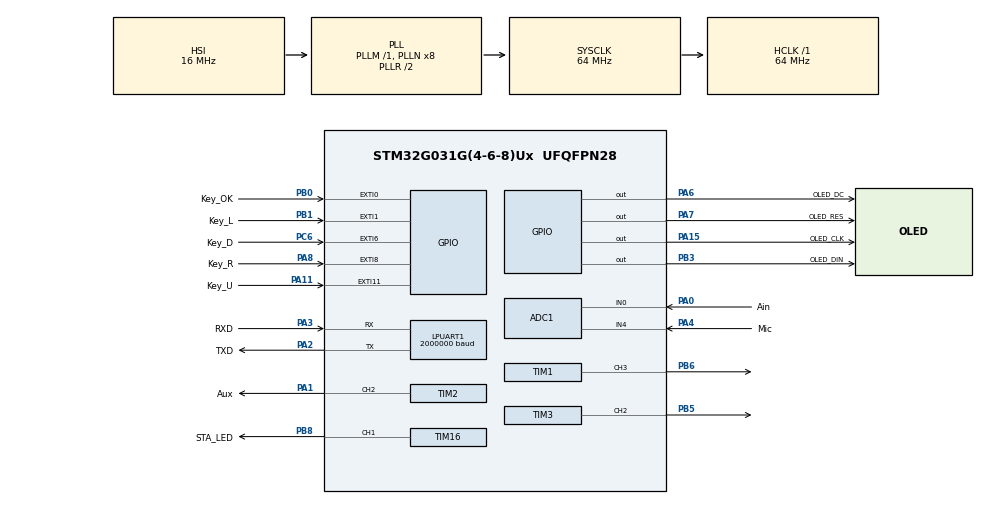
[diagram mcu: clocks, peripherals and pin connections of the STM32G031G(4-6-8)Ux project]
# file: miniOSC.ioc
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Mcu.Family=STM32G0
RCC.CortexFreq_Value=64000000
Dma.TIM1_UP.1.Priority=DMA_PRIORITY_LOW
VP_ADC1_TempSens_Input.Mode=IN-TempSens
Dma.ADC1.0.Polarity=HAL_DMAMUX_REQ_GEN_RISING
PA11\ [PA9].GPIO_Label=Key_U
PA0.GPIO_Label=Ain
PA14-BOOT0.Mode=Serial_Wire
PA2.GPIO_Speed=GPIO_SPEED_FREQ_VERY_HIGH
PC6.GPIO_Label=Key_D
LPUART1.WordLength=UART_WORDLENGTH_8B
PA6.GPIO_Label=OLED_DC
PB0.GPIO_Label=Key_OK
ADC1.SamplingTimeCommon2=ADC_SAMPLETIME_160CYCLES_5
TIM2.Channel-PWM\ Generation2\ CH2=TIM_CHANNEL_2
PA3.GPIO_Speed=GPIO_SPEED_FREQ_VERY_HIGH
PB3.GPIO_Speed=GPIO_SPEED_FREQ_VERY_HIGH
RCC.SYSCLKSource=RCC_SYSCLKSOURCE_PLLCLK
ProjectManager.StackSize=0x400
PA15.GPIO_Label=OLED_CLK
TIM1.Prescaler=TIM1_PRESCALER_VALUE
PA4.Mode=IN4
RCC.HCLKFreq_Value=64000000
TIM3.Period=TIM3_PERIOD_VALUE
PB6.Signal=S_TIM1_CH3
PB1.GPIO_ModeDefaultEXTI=GPIO_MODE_IT_FALLING
Dma.ADC1.0.Direction=DMA_PERIPH_TO_MEMORY
Dma.TIM1_UP.1.PeriphDataAlignment=DMA_PDATAALIGN_HALFWORD
Dma.ADC1.0.MemDataAlignment=DMA_MDATAALIGN_HALFWORD
RCC.AHBFreq_Value=64000000
PA14-BOOT0.Signal=SYS_SWCLK
RCC.HSE_VALUE=8000000
TIM3.OCFastMode_PWM-PWM\ Generation2\ CH2=TIM_OCFAST_ENABLE
PB0.GPIO_ModeDefaultEXTI=GPIO_MODE_IT_FALLING
VP_ADC1_Vref_Input.Mode=IN-Vrefint
TIM3.Prescaler=TIM3_PRESCALER_VALUE
PB1.GPIO_Label=Key_L
Dma.ADC1.0.PeriphInc=DMA_PINC_DISABLE
PA0.Mode=IN0
Dma.TIM1_UP.1.Direction=DMA_MEMORY_TO_PERIPH
PA8.Signal=GPXTI8
Dma.TIM1_UP.1.SyncEnable=DISABLE
Dma.TIM1_UP.1.Instance=DMA1_Channel2
VP_TIM1_VS_ClockSourceINT.Mode=Internal
TIM16.Pulse=TIM16_PULSE1_VALUE
PA0.Signal=ADC1_IN0
ADC1.SelectedChannel=ADC_CHANNEL_0|ADC_CHANNEL_4|ADC_CHANNEL_TEMPSENSOR|ADC_CHANNEL_VREFINT
Mcu.Package=UFQFPN28
TIM2.Prescaler=TIM2_PRESCALER_VALUE
PB1.Signal=GPXTI1
PA6.Signal=GPIO_Output
PA8.GPIO_ModeDefaultEXTI=GPIO_MODE_IT_FALLING
Dma.TIM1_UP.1.MemDataAlignment=DMA_MDATAALIGN_HALFWORD
TIM1.OCFastMode_PWM-PWM\ Generation3\ CH3=TIM_OCFAST_ENABLE
PA2.GPIO_Label=TXD
PA15.Signal=GPIO_Output
TIM2.Pulse-PWM\ Generation2\ CH2=TIM2_PULSE1_VALUE
Dma.Request1=TIM1_UP
TIM3.Pulse-PWM\ Generation2\ CH2=TIM3_PULSE1_VALUE
TIM1.Period=TIM1_PERIOD_VALUE
PA11\ [PA9].GPIO_ModeDefaultEXTI=GPIO_MODE_IT_FALLING
TIM16.Prescaler=TIM16_PRESCALER_VALUE
PA6.GPIO_Speed=GPIO_SPEED_FREQ_VERY_HIGH
Dma.Request0=ADC1
PA4.GPIO_Label=Mic
ADC1.EOCSelection=ADC_EOC_SINGLE_CONV
VP_TIM3_VS_ClockSourceINT.Mode=Internal
Dma.ADC1.0.EventEnable=DISABLE
NVIC.EXTI4_15_IRQn=true\:2\:0\:true\:false\:true\:true\:true
PA3.Signal=LPUART1_RX
Dma.TIM1_UP.1.Mode=DMA_CIRCULAR
PB3.GPIO_Label=OLED_DIN
Dma.ADC1.0.Instance=DMA1_Channel1
ADC1.Sequencer=FULLY_CONFIGURABLE
Dma.ADC1.0.SyncRequestNumber=1
PC6.Signal=GPXTI6
ADC1.DiscontinuousConvMode=DISABLE
RCC.EXTERNAL_CLOCK_VALUE=12288000
SH.S_TIM16_CH1.0=TIM16_CH1,PWM Generation1 CH1
VP_TIM16_VS_ClockSourceINT.Mode=Enable_Timer
ADC1.ExternalTrigConvEdge=ADC_EXTERNALTRIGCONVEDGE_RISING
TIM16.Channel=TIM_CHANNEL_1
Dma.TIM1_UP.1.EventEnable=DISABLE
TIM16.OCFastMode_PWM=TIM_OCFAST_ENABLE
PA3.Mode=Asynchronous
PA13.Signal=SYS_SWDIO
TIM1.AutoReloadPreload=TIM_AUTORELOAD_PRELOAD_ENABLE
TIM1.Pulse-PWM\ Generation3\ CH3=TIM1_PULSE1_VALUE
PB8.GPIO_Label=STA_LED
SH.S_TIM2_CH2.0=TIM2_CH2,PWM Generation2 CH2
Dma.ADC1.0.PeriphDataAlignment=DMA_PDATAALIGN_HALFWORD
Dma.TIM1_UP.1.MemInc=DMA_MINC_ENABLE
PA8.GPIO_Label=Key_R
PC6.GPIO_ModeDefaultEXTI=GPIO_MODE_IT_FALLING
ProjectManager.TargetToolchain=STM32CubeIDE
Dma.ADC1.0.Mode=DMA_CIRCULAR
Dma.ADC1.0.SignalID=NONE
Dma.ADC1.0.SyncSignalID=NONE
Dma.ADC1.0.Priority=DMA_PRIORITY_LOW
ADC1.Channel-1\#ChannelRegularConversion=ADC_CHANNEL_0
Dma.TIM1_UP.1.Polarity=HAL_DMAMUX_REQ_GEN_RISING
Dma.TIM1_UP.1.SyncRequestNumber=1
RCC.LSE_VALUE=32768
PA1.Signal=S_TIM2_CH2
Dma.TIM1_UP.1.SyncPolarity=HAL_DMAMUX_SYNC_NO_EVENT
SH.S_TIM3_CH2.0=TIM3_CH2,PWM Generation2 CH2
board=custom
RCC.VCOOutputFreq_Value=128000000
PA7.GPIO_Speed=GPIO_SPEED_FREQ_VERY_HIGH
Dma.ADC1.0.SyncPolarity=HAL_DMAMUX_SYNC_NO_EVENT
TIM1.TIM_MasterOutputTrigger=TIM_TRGO_RESET
TIM16.Period=TIM16_PERIOD_VALUE
VP_TIM2_VS_ClockSourceINT.Mode=Internal
PA1.GPIO_Speed=GPIO_SPEED_FREQ_VERY_HIGH
RCC.ADCFreq_Value=64000000
PA1.GPIO_Label=Aux
ADC1.DMAContinuousRequests=DISABLE
TIM2.Period=TIM2_PERIOD_VALUE
ADC1.NbrOfConversion=1
PA13.Mode=Serial_Wire
PA11\ [PA9].Signal=GPXTI11
Mcu.Name=STM32G031G(4-6-8)Ux
LPUART1.BaudRate=2000000
PA2.Signal=LPUART1_TX
ADC1.ExternalTrigConv=ADC_EXTERNALTRIG_T3_TRGO
PB3.Signal=GPIO_Output
PA4.Signal=ADC1_IN4
ADC1.SamplingTime-1\#ChannelRegularConversion=ADC_SAMPLINGTIME_COMMON_1
RCC.SYSCLKFreq_VALUE=64000000
TIM1.TIM_MasterOutputTrigger2=TIM_TRGO2_RESET
PB5.Signal=S_TIM3_CH2
PA7.GPIO_Label=OLED_RES
ADC1.master=1
Dma.TIM1_UP.1.PeriphInc=DMA_PINC_DISABLE
PA15.GPIO_Speed=GPIO_SPEED_FREQ_VERY_HIGH
ADC1.Rank-1\#ChannelRegularConversion=1
Dma.ADC1.0.RequestNumber=1
Dma.ADC1.0.SyncEnable=DISABLE
Dma.ADC1.0.MemInc=DMA_MINC_ENABLE
ProjectManager.HeapSize=0x200
SH.S_TIM1_CH3.0=TIM1_CH3,PWM Generation3 CH3
RCC.HSI_VALUE=16000000
Dma.TIM1_UP.1.RequestNumber=1
ADC1.NbrOfConversionFlag=1
TIM3.Channel-PWM\ Generation2\ CH2=TIM_CHANNEL_2
NVIC.DMA1_Channel2_3_IRQn=true\:0\:0\:false\:false\:true\:false\:true
PA2.Mode=Asynchronous
PB8.Signal=S_TIM16_CH1
TIM2.OCFastMode_PWM-PWM\ Generation2\ CH2=TIM_OCFAST_ENABLE
NVIC.DMA1_Channel1_IRQn=true\:0\:0\:true\:false\:true\:false\:true
TIM1.Channel-PWM\ Generation3\ CH3=TIM_CHANNEL_3
TIM3.TIM_MasterOutputTrigger=TIM_TRGO_UPDATE
PB8.GPIO_Speed=GPIO_SPEED_FREQ_VERY_HIGH
PB0.Signal=GPXTI0
ADC1.ClockPrescaler=ADC_CLOCK_ASYNC_DIV1
Dma.TIM1_UP.1.SignalID=NONE
NVIC.TIM1_BRK_UP_TRG_COM_IRQn=true\:3\:0\:true\:false\:true\:true\:true
PA3.GPIO_Label=RXD
Dma.TIM1_UP.1.SyncSignalID=NONE
PA7.Signal=GPIO_Output
NVIC.EXTI0_1_IRQn=true\:2\:0\:true\:false\:true\:true\:true

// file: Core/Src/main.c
/* USER CODE BEGIN Header */
/**
  ******************************************************************************
  * @file           : main.c
  * @brief          : Main program body
  ******************************************************************************
  * @attention
  *
  * <h2><center>&copy; Copyright (c) 2021 STMicroelectronics.
  * All rights reserved.</center></h2>
  *
  * This software component is licensed by ST under BSD 3-Clause license,
  * the "License"; You may not use this file except in compliance with the
  * License. You may obtain a copy of the License at:
  *                        opensource.org/licenses/BSD-3-Clause
  *
  ******************************************************************************
  */
/* USER CODE END Header */
#include "main.h"

/* USER CODE BEGIN Includes */
#include "arm_math.h"
#include "arm_const_structs.h"
/* USER CODE END Includes */

/* USER CODE BEGIN PD */

#define DEBUGMODE 0
  /* Value of analog reference voltage (Vref+), connected to analog voltage   */
  /* supply Vdda (unit: mV).                                                  */
  #define VDDA_APPLI                       (3300U)
#define RisingEdge 0
#define FallingEdge 1

/* USER CODE END PD */

ADC_HandleTypeDef hadc1;
DMA_HandleTypeDef hdma_adc1;

UART_HandleTypeDef hlpuart1;

TIM_HandleTypeDef htim1;
TIM_HandleTypeDef htim2;
TIM_HandleTypeDef htim3;
TIM_HandleTypeDef htim16;
DMA_HandleTypeDef hdma_tim1_up;

/* USER CODE BEGIN PV */
/* Private variables ---------------------------------------------------------*/

/* ADC handler declaration */
/* Variables for ADC conversion data */
__IO   uint16_t   aADCxConvertedData[ADC_CONVERTED_DATA_BUFFER_SIZE]; /* ADC group regular conversion data (array of data) */

/* Variable to report status of DMA transfer of ADC group regular conversions */
/*  0: DMA transfer is not completed                                          */
/*  1: DMA transfer is completed                                              */
/*  2: DMA transfer has not yet been started yet (initial state)              */
__IO   uint8_t ubDmaTransferStatus = 2; /* Variable set into DMA interruption callback */

/* Variable to manage push button on board: interface between ExtLine interruption and main program */
__IO   uint8_t ubUserButtonClickEvent = RESET;  /* Event detection: Set after User Button interrupt */

/* Variables for ADC conversion data computation to physical values */
__IO uint16_t uhADCxConvertedData_VoltageMic_mVolt = 0U;        /* Value of voltage on GPIO pin (on which is mapped ADC channel) calculated from ADC conversion data (unit: mV) */
__IO uint16_t uhADCxConvertedData_VoltageAin_mVolt = 0U;        /* Value of voltage on GPIO pin (on which is mapped ADC channel) calculated from ADC conversion data (unit: mV) */
__IO uint16_t uhADCxConvertedData_VrefInt_mVolt = 0U;            /* Value of internal voltage reference VrefInt calculated from ADC conversion data (unit: mV) */
__IO  int16_t hADCxConvertedData_Temperature_DegreeCelsius = 0U; /* Value of temperature calculated from ADC conversion data (unit: degree Celsius) */

float32_t adc_converted_data_f32[ADC_CONVERTED_DATA_BUFFER_SIZE*2];
static float32_t testOutput[ADC_CONVERTED_DATA_BUFFER_SIZE];
int32_t  aADCxConvertedSum;
uint16_t aADCxConvertedMax;
uint16_t aADCxConvertedMin;
uint16_t aADCxConvertedVpp;
uint16_t aADCxConvertedTrigger;
uint16_t aADCxConvertedTrigPos;
uint8_t cAtEdge=0;
uint8_t cUseChannel=0;
uint16_t Key_Pressed;
uint8_t Menu_cnt;
uint16_t TIM3_PERIOD_VAL[12]={16,32,64,128,320,640,1280,3200,6400,12800,32000,64000};
uint8_t *TIM3_PERIOD_CHR[12]={"4Msp","2Msp","1Msp","500k","200k","100k","50ks","20ks","10ks","5ksp","2ksp","1ksp"};
uint8_t TIM3_PERIOD_cnt;
uint8_t Wav_Frq = 0;
uint8_t AC_DC = 0;
uint8_t inDDS = 0;
float32_t fft_Max;
uint32_t fft_Max_Index;
float32_t freq_in;
int32_t TIM1_PERIOD_VAL;
int16_t tmp_phase;
int16_t tmp_ampl = 128;
int16_t tmp_offset = 128;
int16_t DDS_FREQ = 50;
uint8_t DDS_mode;
uint8_t *DDS_WAVE[3] = {" SIN"," TRI" ," SQU"};
uint32_t tmp_sinTable[32];

ADC_ChannelConfTypeDef sConfigAin = {.Channel = ADC_CHANNEL_0,.Rank = ADC_REGULAR_RANK_1,.SamplingTime = ADC_SAMPLINGTIME_COMMON_1};
ADC_ChannelConfTypeDef sConfigMic = {.Channel = ADC_CHANNEL_4,.Rank = ADC_REGULAR_RANK_1,.SamplingTime = ADC_SAMPLINGTIME_COMMON_1};
extern uint8_t OLED_GRAM[128][8];
/* USER CODE END PV */

void SystemClock_Config(void);
static void MX_GPIO_Init(void);
static void MX_DMA_Init(void);
static void MX_ADC1_Init(void);
static void MX_LPUART1_UART_Init(void);
static void MX_TIM2_Init(void);
static void MX_TIM16_Init(void);
static void MX_TIM1_Init(void);
static void MX_TIM3_Init(void);
/* USER CODE BEGIN PFP */
#if defined (__ICCARM__) || defined (__ARMCC_VERSION)
#define PUTCHAR_PROTOTYPE int fputc(int ch, FILE *f)
#elif defined(__GNUC__)
   /* With GCC, small printf (option LD Linker->Libraries->Small printf
   set to 'Yes') calls __io_putchar() */
#define PUTCHAR_PROTOTYPE int __io_putchar(int ch)
#endif /* __ICCARM__ || __ARMCC_VERSION */

/* USER CODE END PFP */

/* USER CODE BEGIN 0 */

/*TIM3: 16->4M SPS =>100K~200k
        32->2M SPS =>40K~200K
        64->1M SPS =>20K~100K
        128->500K SPS=>10K~50K
        256->250K SPS
        320->200K SPS=>5k~16K
        640->100K SPS=>2K~10K
        1280->50K SPS=>1K~5K
        3200->20K SPS=>500~2K
        6400->10K SPS=>200~1K
        12800->5K SPS=>100~500
        32000->2K SPS=>50~200
        64000->1K SPS=>20~100
        */

/*
 * TIM1:  1000 ->2K
 *        1333 ->1.5K
 *        2000 ->1K
 *        4000 ->500
 *        5000 ->400
 *        10000->200
 *        20000->100
 *        40000->50
 *
 */

void Update_DDS(int16_t amp, int16_t offset, uint8_t mode)
{
  int16_t temp;
  switch (mode)
  {
    case 0:
      for (tmp_phase = 0; tmp_phase < 32; tmp_phase++)
      {
        temp = tmp_ampl*sinf(tmp_phase*PI/16.0)+tmp_offset;
        temp = temp>256 ? 256 : temp<0 ? 0 : temp;
        tmp_sinTable[tmp_phase] =(uint16_t)temp;
      }
      break;
    case 1:
      for (tmp_phase = 0; tmp_phase < 16; tmp_phase++)
      {
        temp = tmp_ampl * (tmp_phase-8)/8.0 + tmp_offset;
        temp = temp>256 ? 256 : temp<0 ? 0 : temp;
        tmp_sinTable[tmp_phase] = (uint16_t)temp;
        tmp_sinTable[31 - tmp_phase] = (uint16_t)temp;
      }
      break;
    case 2:
      for (tmp_phase = 0; tmp_phase < 16; tmp_phase++)
      {
        temp = tmp_offset + tmp_ampl;
        temp = temp>256 ? 256 : temp<0 ? 0 : temp;
        tmp_sinTable[tmp_phase] = (uint16_t)temp;
      }
      for (tmp_phase = 16; tmp_phase < 32; tmp_phase++)
      {
        temp = tmp_offset - tmp_ampl;
        temp = temp>256 ? 256 : temp<0 ? 0 : temp;
        tmp_sinTable[tmp_phase] = (uint16_t)temp;
      }
      break;
    default:
      break;
  }
}

/* USER CODE END 0 */

int main(void)
{
  /* USER CODE BEGIN 1 */
  uint32_t tmp_index_adc_converted_data = 0;
  uint8_t txt[10];
  /* USER CODE END 1 */

  /* MCU Configuration--------------------------------------------------------*/

  /* Reset of all peripherals, Initializes the Flash interface and the Systick. */
  HAL_Init();

  /* Configure the system clock */
  SystemClock_Config();

  /* Initialize all configured peripherals */
  MX_GPIO_Init();
  MX_DMA_Init();
  MX_ADC1_Init();
  MX_LPUART1_UART_Init();
  MX_TIM2_Init();
  MX_TIM16_Init();
  MX_TIM1_Init();
  MX_TIM3_Init();
  /* USER CODE BEGIN 2 */
  //ADC_ExternalTrigConvCmd
  for (tmp_index_adc_converted_data = 0; tmp_index_adc_converted_data < ADC_CONVERTED_DATA_BUFFER_SIZE; tmp_index_adc_converted_data++)
  {
    aADCxConvertedData[tmp_index_adc_converted_data] = VAR_CONVERTED_DATA_INIT_VALUE;
  }

  if (HAL_ADCEx_Calibration_Start(&hadc1) != HAL_OK)
  {
    /* Calibration Error */
    Error_Handler();
    printf("** ADC failed. ** \n\r");
  }

  /* Start ADC group regular conversion with DMA */
  if (HAL_ADC_Start_DMA(&hadc1,
                        (uint32_t *)aADCxConvertedData,
                        ADC_CONVERTED_DATA_BUFFER_SIZE
                       ) != HAL_OK)
  {
    /* ADC conversion start error */
    Error_Handler();
  }
  //HAL_TIM_PWM_Start_DMA
#if DEBUGMODE
  printf("** ADC finished successfully. ** \n\r");

  /* Output a message on Hyperterminal using printf function */
  printf("\n\r UART Printf Example: retarget the C library printf function to the UART\n\r");
  printf("** Test finished successfully. ** \n\r");
#endif

  /* Start channel 2 */
  if (HAL_TIM_PWM_Start(&htim2, TIM_CHANNEL_2) != HAL_OK)
  {
    /* PWM Generation Error */
    Error_Handler();
  }

  /* Start channel 2 */
  if (HAL_TIM_PWM_Start(&htim3, TIM_CHANNEL_2) != HAL_OK)
  {
    /* PWM Generation Error */
    Error_Handler();
  }

  /* Start channel 1*/
  if (HAL_TIM_PWM_Start(&htim16, TIM_CHANNEL_1) != HAL_OK)
  {
    /* PWM Generation Error */
    Error_Handler();
  }

  /* Start channel 2 */
  if (HAL_TIM_PWM_Start(&htim1, TIM_CHANNEL_3) != HAL_OK)
  {
    /* PWM Generation Error */
    Error_Handler();
  }

  /* Start Channel1 */
  if (HAL_TIM_Base_Start_IT(&htim1) != HAL_OK)
  {
    /* Starting Error */
    Error_Handler();
  }

  Update_DDS(tmp_ampl, tmp_offset, 0);
  //HAL_DMA_Start(&hdma_tim1_up, (uint32_t *)tmp_sinTable, &htim2.Instance->CCR2, 30);

  //HAL_GPIO_ReadPin(Key_OK_GPIO_Port, Key_OK_Pin);
  OLED_Init();

  /* USER CODE END 2 */

  /* Infinite loop */
  /* USER CODE BEGIN WHILE */

  //OLED_ShowChinese(0,0,0,16,1);//

  //OLED_Refresh();
  while (1)
  {
    /* Wait for ADC conversion and DMA transfer completion (update of variable ubDmaTransferStatus) */
    //HAL_Delay(10);
    //while(ubDmaTransferStatus != 1){;}

    /* Check whether ADC has converted all ranks of the sequence */
    if (ubDmaTransferStatus == 1)
    {
      memset(OLED_GRAM, 0, sizeof(OLED_GRAM));
      if(Key_Pressed)
      {
        if (Key_Pressed & Key_OK_Pin)
        {
          inDDS = inDDS ? 0 : 1;
         __HAL_TIM_SET_COMPARE(&htim16,TIM_CHANNEL_1,20);
        }
        if (inDDS==1)
        {
          if (Key_Pressed & Key_U_Pin)
          {
            Menu_cnt = (Menu_cnt==0) ? 6 : (Menu_cnt-1);
            __HAL_TIM_SET_COMPARE(&htim16,TIM_CHANNEL_1,300);
          }
          if (Key_Pressed & Key_D_Pin)
          {
            Menu_cnt = (Menu_cnt==6) ? 0 : (Menu_cnt+1);
            __HAL_TIM_SET_COMPARE(&htim16,TIM_CHANNEL_1,500);
          }
          if (Key_Pressed & Key_L_Pin)
          {
            switch (Menu_cnt)
            {
              case 0:
                DDS_FREQ -= 50;
                DDS_FREQ = DDS_FREQ<50 ? 50 : DDS_FREQ;
                TIM1_PERIOD_VAL = (int)(2000000.0/DDS_FREQ+0.5);
                __HAL_TIM_SET_AUTORELOAD(&htim1, TIM1_PERIOD_VAL);
                break;
              case 1:
                tmp_ampl -= 16;
                Update_DDS(tmp_ampl, tmp_offset, DDS_mode);
                break;
              case 2:
                tmp_offset -= 16;
                Update_DDS(tmp_ampl, tmp_offset, DDS_mode);
                break;
              case 3:
                DDS_mode = DDS_mode>0 ? --DDS_mode : 0;
                Update_DDS(tmp_ampl, tmp_offset, DDS_mode);
                break;
              default:
                break;
           }
           __HAL_TIM_SET_COMPARE(&htim16,TIM_CHANNEL_1,100);
         }
          if (Key_Pressed & Key_R_Pin)
          {
            switch (Menu_cnt)
            {
              case 0:
                DDS_FREQ += 50;
                DDS_FREQ = DDS_FREQ>2000 ? 2000 : DDS_FREQ;
                TIM1_PERIOD_VAL = (int)(2000000.0/DDS_FREQ+0.5);
                __HAL_TIM_SET_AUTORELOAD(&htim1, TIM1_PERIOD_VAL);
                break;
              case 1:
                tmp_ampl += 16;
                Update_DDS(tmp_ampl, tmp_offset, DDS_mode);
                break;
              case 2:
                tmp_offset += 16;
                Update_DDS(tmp_ampl, tmp_offset, DDS_mode);
                break;
              case 3:
                DDS_mode = DDS_mode<2 ? ++DDS_mode : 2;
                Update_DDS(tmp_ampl, tmp_offset, DDS_mode);
              default:
                break;
             }
             __HAL_TIM_SET_COMPARE(&htim16,TIM_CHANNEL_1,200);
          }
        }
        else
        {
          if (Key_Pressed & Key_U_Pin)
          {
            Menu_cnt = (Menu_cnt==0) ? 6 : (Menu_cnt-1);
            __HAL_TIM_SET_COMPARE(&htim16,TIM_CHANNEL_1,300);
          }
          if (Key_Pressed & Key_D_Pin)
          {
            Menu_cnt = (Menu_cnt==6) ? 0 : (Menu_cnt+1);
            __HAL_TIM_SET_COMPARE(&htim16,TIM_CHANNEL_1,500);
          }
          if (Key_Pressed & Key_L_Pin)
          {
            switch (Menu_cnt)
            {
              case 0:
                (TIM3_PERIOD_cnt == 0) ? : (TIM3_PERIOD_cnt--);
                __HAL_TIM_SET_AUTORELOAD(&htim3,TIM3_PERIOD_VAL[TIM3_PERIOD_cnt]);
                break;
              case 1:
                cUseChannel = cUseChannel ? 0 : 1;
                if (HAL_ADC_ConfigChannel(&hadc1, cUseChannel==0?&sConfigAin:&sConfigMic) != HAL_OK)
                {
                  Error_Handler();
                }
                break;
              case 2:
                Wav_Frq = Wav_Frq ? 0 : 1;
                break;
              case 3:
                cAtEdge = cAtEdge ? 0 : 1;
                break;
              case 4:
                if(Wav_Frq == 0)
                  AC_DC = AC_DC ? 0 : 1;
                break;
              default:
                break;
           }
           __HAL_TIM_SET_COMPARE(&htim16,TIM_CHANNEL_1,100);
         }
          if (Key_Pressed & Key_R_Pin)
          {
            switch (Menu_cnt)
            {
              case 0:
                (TIM3_PERIOD_cnt == 11) ? :(TIM3_PERIOD_cnt++);
                __HAL_TIM_SET_AUTORELOAD(&htim3,TIM3_PERIOD_VAL[TIM3_PERIOD_cnt]);
                break;
              case 1:
                cUseChannel = cUseChannel ? 0 : 1;
                if (HAL_ADC_ConfigChannel(&hadc1, cUseChannel==0?&sConfigAin:&sConfigMic) != HAL_OK)
                {
                  Error_Handler();
                }
                break;
              case 2:
                Wav_Frq = Wav_Frq ? 0 : 1;
                break;
              case 3:
                cAtEdge = cAtEdge ? 0 : 1;
                break;
              case 4:
                if(Wav_Frq == 0)
                  AC_DC = AC_DC ? 0 : 1;
                break;
              default:
                break;
             }
             __HAL_TIM_SET_COMPARE(&htim16,TIM_CHANNEL_1,200);
          }
        }
        Key_Pressed=0;
      }

      aADCxConvertedSum = 0;
      aADCxConvertedMax = 0;
      aADCxConvertedMin = 3300;

      for (tmp_index_adc_converted_data = 0; tmp_index_adc_converted_data < ADC_CONVERTED_DATA_BUFFER_SIZE; tmp_index_adc_converted_data++)
      {
        aADCxConvertedData[tmp_index_adc_converted_data] = __LL_ADC_CALC_DATA_TO_VOLTAGE(VDDA_APPLI, aADCxConvertedData[tmp_index_adc_converted_data], LL_ADC_RESOLUTION_12B);
        aADCxConvertedSum += aADCxConvertedData[tmp_index_adc_converted_data];

        if (aADCxConvertedMax < aADCxConvertedData[tmp_index_adc_converted_data])
          aADCxConvertedMax = aADCxConvertedData[tmp_index_adc_converted_data];
        if (aADCxConvertedMin > aADCxConvertedData[tmp_index_adc_converted_data])
          aADCxConvertedMin = aADCxConvertedData[tmp_index_adc_converted_data];
#if DEBUGMODE
        printf("m: %d",aADCxConvertedData[tmp_index_adc_converted_data]);
        printf("\n");
#endif
      }
      aADCxConvertedSum /= ADC_CONVERTED_DATA_BUFFER_SIZE;//calc average of buffer
      aADCxConvertedVpp = aADCxConvertedMax - aADCxConvertedMin;

      //aADCxConvertedVpp = aADCxConvertedVpp > 0 ? aADCxConvertedVpp : 1;
      aADCxConvertedVpp = aADCxConvertedVpp > 150 ? aADCxConvertedVpp : 150;
      aADCxConvertedTrigger = (aADCxConvertedMax + aADCxConvertedMin)/2;

      for (tmp_index_adc_converted_data = 0; tmp_index_adc_converted_data < ADC_CONVERTED_DATA_BUFFER_SIZE; tmp_index_adc_converted_data++)
      {
        adc_converted_data_f32[tmp_index_adc_converted_data*2] = (float)(aADCxConvertedData[tmp_index_adc_converted_data]-aADCxConvertedSum);
        adc_converted_data_f32[tmp_index_adc_converted_data*2+1] = 0;
      }

      /* Process the data through the CFFT/CIFFT module */
      arm_cfft_f32(&arm_cfft_sR_f32_len128, adc_converted_data_f32, 0, 1);

      /* Process the data through the Complex Magnitude Module for
      calculating the magnitude at each bin */
      arm_cmplx_mag_f32(adc_converted_data_f32, testOutput, ADC_CONVERTED_DATA_BUFFER_SIZE);

      arm_max_f32(testOutput, ADC_CONVERTED_DATA_BUFFER_SIZE/2, &fft_Max, &fft_Max_Index);
      fft_Max = fft_Max > 8000 ? fft_Max : 8000;
#if DEBUGMODE
      for (tmp_index_adc_converted_data = 0; tmp_index_adc_converted_data < ADC_CONVERTED_DATA_BUFFER_SIZE/2; tmp_index_adc_converted_data++)
      {
        //uhADCxConvertedData_VoltageAin_mVolt = __LL_ADC_CALC_DATA_TO_VOLTAGE(VDDA_APPLI, aADCxConvertedData[tmp_index_adc_converted_data], LL_ADC_RESOLUTION_12B);
        printf("m: %f", testOutput[tmp_index_adc_converted_data]);
        printf("\n");
      }
#endif

#if DEBUGMODE
      for (tmp_index_adc_converted_data = 0; tmp_index_adc_converted_data < ADC_CONVERTED_DATA_BUFFER_SIZE/2; tmp_index_adc_converted_data++)
      {
        //uhADCxConvertedData_VoltageAin_mVolt = __LL_ADC_CALC_DATA_TO_VOLTAGE(VDDA_APPLI, aADCxConvertedData[tmp_index_adc_converted_data], LL_ADC_RESOLUTION_12B);
        printf("m: %f", testOutput[tmp_index_adc_converted_data]);
        printf("\n");
      }
#endif
      if(Wav_Frq == 0)
      {
        aADCxConvertedTrigPos = ADC_CONVERTED_DATA_BUFFER_SIZE/4;
        for (tmp_index_adc_converted_data = ADC_CONVERTED_DATA_BUFFER_SIZE/4; tmp_index_adc_converted_data < ADC_CONVERTED_DATA_BUFFER_SIZE - (ADC_CONVERTED_DATA_BUFFER_SIZE/4); tmp_index_adc_converted_data++)
        {
          if (cAtEdge == RisingEdge)
          {
            if(aADCxConvertedData[tmp_index_adc_converted_data-1] <= aADCxConvertedTrigger && aADCxConvertedData[tmp_index_adc_converted_data] > aADCxConvertedTrigger )
            {
              aADCxConvertedTrigPos = tmp_index_adc_converted_data;
              break;
            }
          }
          else if (cAtEdge == FallingEdge)
          {
            if(aADCxConvertedData[tmp_index_adc_converted_data-1] >= aADCxConvertedTrigger && aADCxConvertedData[tmp_index_adc_converted_data] < aADCxConvertedTrigger )
            {
              aADCxConvertedTrigPos = tmp_index_adc_converted_data;
              break;
            }
          }
        }
        if(AC_DC == 0)
        {
          for(char x = 0; x<64; x++)
          {
            OLED_DrawPoint(x, 63-(uint8_t)((aADCxConvertedData[aADCxConvertedTrigPos-(ADC_CONVERTED_DATA_BUFFER_SIZE/4)+x])*63.0 / 3300 ), 1);
            //OLED_DrawPoint(x, 31-(int8_t)(63.0*(aADCxConvertedData[aADCxConvertedTrigPos-(ADC_CONVERTED_DATA_BUFFER_SIZE/4)+x] - aADCxConvertedTrigger)/aADCxConvertedVpp), 1);
          }
        }
        else
        {
          for(char x = 0; x<64; x++)
          {
            //OLED_DrawPoint(x, 63-(uint8_t)((aADCxConvertedData[aADCxConvertedTrigPos-(ADC_CONVERTED_DATA_BUFFER_SIZE/4)+x] - aADCxConvertedMin)*63.0 / aADCxConvertedVpp ), 1);
            OLED_DrawPoint(x, 31-(int8_t)(63.0*(aADCxConvertedData[aADCxConvertedTrigPos-(ADC_CONVERTED_DATA_BUFFER_SIZE/4)+x] - aADCxConvertedTrigger)/aADCxConvertedVpp), 1);
          }
        }

      }
      else
      {
        for(char x = 0; x<64; x++)
        {
          OLED_DrawLine(x, 63-(uint8_t)(testOutput[x]*63.0/fft_Max), x, 63, 1);
        }
      }

      OLED_ShowChar(64, Menu_cnt*8, '>', 8, 1);

      if(inDDS==0)
      { //OSC menu
        sprintf(txt,"SPS:%4s", TIM3_PERIOD_CHR[TIM3_PERIOD_cnt]);
        OLED_ShowString(70, 0, txt, 8, 1);

        sprintf(txt,"SRC:%4s", cUseChannel==0 ? "Ain+":"Mic+");
        OLED_ShowString(70, 8, txt, 8, 1);

        sprintf(txt,"T/F:%4s", Wav_Frq==0?"Time":"Freq");
        OLED_ShowString(70, 16, txt, 8, 1);

        sprintf(txt,"TRI:%4s", cAtEdge==0 ? "Rise":"Fall");
        OLED_ShowString(70, 24, txt, 8, 1);

        if(Wav_Frq == 0)
        {
          sprintf(txt,"A_D:%4s", AC_DC == 0 ? " DC " : " AC ");
          OLED_ShowString(70, 32, txt, 8, 1);

          switch (TIM3_PERIOD_cnt)
          {
            case 0:
              freq_in = (fft_Max_Index)*2/64.0;
              sprintf(txt,"FRQ:%1.1fM", freq_in);
              break;
            case 1:
              freq_in = (fft_Max_Index)*1/64.0;
              sprintf(txt,"FRQ:%1.1fM", freq_in);
              break;
            case 2:
              freq_in = (fft_Max_Index)*500/64.0;
              sprintf(txt,"FRQ:%3.0fk", freq_in);
              break;
            case 3:
              freq_in = (fft_Max_Index)*250/64.0;
              sprintf(txt,"FRQ:%3.0fk", freq_in);
              break;
            case 4:
              freq_in = (fft_Max_Index)*100/64.0;
              sprintf(txt,"FRQ:%3.0fk", freq_in);
              break;
            case 5:
              freq_in = (fft_Max_Index)*50/64.0;
              sprintf(txt,"FRQ:%3.0fk", freq_in);
              break;
            case 6:
              freq_in = (fft_Max_Index)*25/64.0;
              sprintf(txt,"FRQ:%3.0fk", freq_in);
              break;
            case 7:
              freq_in = (fft_Max_Index)*10/64.0;
              sprintf(txt,"FRQ:%3.0fk", freq_in);
              break;
            case 8:
              freq_in = (fft_Max_Index)*5/64.0;
              sprintf(txt,"FRQ:%3.0fk", freq_in);
              break;
            case 9:
              freq_in = (fft_Max_Index)*2500/64.0;
              sprintf(txt,"FRQ:%4.0f", freq_in);
              break;
            case 10:
              freq_in = (fft_Max_Index)*1000/64.0;
              sprintf(txt,"FRQ:%4.0f", freq_in);
              break;
            case 11:
              freq_in = (fft_Max_Index)*500/64.0;
              sprintf(txt,"FRQ:%4.0f", freq_in);
              break;
            default:
              break;
          }
          OLED_ShowString(70, 40, txt, 8, 1);

          sprintf(txt,"VPP:%4d", aADCxConvertedVpp);
          OLED_ShowString(70, 48, txt, 8, 1);

          sprintf(txt,"DCC:%4d", aADCxConvertedSum);
          OLED_ShowString(70, 56, txt, 8, 1);
        }
        else
        {
          switch (TIM3_PERIOD_cnt)
          {
            case 0:
              freq_in = (fft_Max_Index)*2/64.0;
              sprintf(txt,"FRQ:%1.1fM", freq_in);
              break;
            case 1:
              freq_in = (fft_Max_Index)*1/64.0;
              sprintf(txt,"FRQ:%1.1fM", freq_in);
              break;
            case 2:
              freq_in = (fft_Max_Index)*500/64.0;
              sprintf(txt,"FRQ:%3.0fk", freq_in);
              break;
            case 3:
              freq_in = (fft_Max_Index)*250/64.0;
              sprintf(txt,"FRQ:%3.0fk", freq_in);
              break;
            case 4:
              freq_in = (fft_Max_Index)*100/64.0;
              sprintf(txt,"FRQ:%3.0fk", freq_in);
              break;
            case 5:
              freq_in = (fft_Max_Index)*50/64.0;
              sprintf(txt,"FRQ:%3.0fk", freq_in);
              break;
            case 6:
              freq_in = (fft_Max_Index)*25/64.0;
              sprintf(txt,"FRQ:%3.0fk", freq_in);
              break;
            case 7:
              freq_in = (fft_Max_Index)*10/64.0;
              sprintf(txt,"FRQ:%3.0fk", freq_in);
              break;
            case 8:
              freq_in = (fft_Max_Index)*5/64.0;
              sprintf(txt,"FRQ:%3.0fk", freq_in);
              break;
            case 9:
              freq_in = (fft_Max_Index)*2500/64.0;
              sprintf(txt,"FRQ:%4.0f", freq_in);
              break;
            case 10:
              freq_in = (fft_Max_Index)*1000/64.0;
              sprintf(txt,"FRQ:%4.0f", freq_in);
              break;
            case 11:
              freq_in = (fft_Max_Index)*500/64.0;
              sprintf(txt,"FRQ:%4.0f", freq_in);
              break;
            default:
              break;
          }
          OLED_ShowString(70, 32, txt, 8, 1);

          if(fft_Max_Index<32)
          {
            sprintf(txt,"2nd:%1.2f", testOutput[fft_Max_Index*2] / testOutput[fft_Max_Index]);
            OLED_ShowString(70, 40, txt, 8, 1);

            sprintf(txt,"3rd:%1.2f", testOutput[fft_Max_Index*3] / testOutput[fft_Max_Index]);
            OLED_ShowString(70, 48, txt, 8, 1);

            sprintf(txt,"4th:%1.2f", testOutput[fft_Max_Index*4] / testOutput[fft_Max_Index]);
            OLED_ShowString(70, 56, txt, 8, 1);
          }
        }
      }
      else
      { //DDS menu
        sprintf(txt,"FRQ:%4d", DDS_FREQ);
        OLED_ShowString(70, 0, txt, 8, 1);

        sprintf(txt,"AMP:%4d", tmp_ampl);
        OLED_ShowString(70, 8, txt, 8, 1);

        sprintf(txt,"DC :%4d", tmp_offset);
        OLED_ShowString(70, 16, txt, 8, 1);

        sprintf(txt,"WAV:%4s", DDS_WAVE[DDS_mode]);
        OLED_ShowString(70, 24, txt, 8, 1);
      }
      OLED_Refresh();

      ubDmaTransferStatus = 0;

      /* Start ADC group regular conversion with DMA */
      if (HAL_ADC_Start_DMA(&hadc1,
                            (uint32_t *)aADCxConvertedData,
                            ADC_CONVERTED_DATA_BUFFER_SIZE
                           ) != HAL_OK)
      {
        /* ADC conversion start error */
        Error_Handler();
      }

    }

    /* USER CODE END WHILE */

  }
}

void SystemClock_Config(void)
{
  RCC_OscInitTypeDef RCC_OscInitStruct = {0};
  RCC_ClkInitTypeDef RCC_ClkInitStruct = {0};
  RCC_PeriphCLKInitTypeDef PeriphClkInit = {0};

  /** Configure the main internal regulator output voltage
  */
  HAL_PWREx_ControlVoltageScaling(PWR_REGULATOR_VOLTAGE_SCALE1);
  /** Initializes the RCC Oscillators according to the specified parameters
  * in the RCC_OscInitTypeDef structure.
  */
  RCC_OscInitStruct.OscillatorType = RCC_OSCILLATORTYPE_HSI;
  RCC_OscInitStruct.HSIState = RCC_HSI_ON;
  RCC_OscInitStruct.HSIDiv = RCC_HSI_DIV1;
  RCC_OscInitStruct.HSICalibrationValue = RCC_HSICALIBRATION_DEFAULT;
  RCC_OscInitStruct.PLL.PLLState = RCC_PLL_ON;
  RCC_OscInitStruct.PLL.PLLSource = RCC_PLLSOURCE_HSI;
  RCC_OscInitStruct.PLL.PLLM = RCC_PLLM_DIV1;
  RCC_OscInitStruct.PLL.PLLN = 8;
  RCC_OscInitStruct.PLL.PLLP = RCC_PLLP_DIV2;
  RCC_OscInitStruct.PLL.PLLQ = RCC_PLLQ_DIV2;
  RCC_OscInitStruct.PLL.PLLR = RCC_PLLR_DIV2;
  if (HAL_RCC_OscConfig(&RCC_OscInitStruct) != HAL_OK)
  {
    Error_Handler();
  }
  /** Initializes the CPU, AHB and APB buses clocks
  */
  RCC_ClkInitStruct.ClockType = RCC_CLOCKTYPE_HCLK|RCC_CLOCKTYPE_SYSCLK
                              |RCC_CLOCKTYPE_PCLK1;
  RCC_ClkInitStruct.SYSCLKSource = RCC_SYSCLKSOURCE_PLLCLK;
  RCC_ClkInitStruct.AHBCLKDivider = RCC_SYSCLK_DIV1;
  RCC_ClkInitStruct.APB1CLKDivider = RCC_HCLK_DIV1;

  if (HAL_RCC_ClockConfig(&RCC_ClkInitStruct, FLASH_LATENCY_2) != HAL_OK)
  {
    Error_Handler();
  }
  /** Initializes the peripherals clocks
  */
  PeriphClkInit.PeriphClockSelection = RCC_PERIPHCLK_LPUART1|RCC_PERIPHCLK_ADC
                              |RCC_PERIPHCLK_TIM1;
  PeriphClkInit.Lpuart1ClockSelection = RCC_LPUART1CLKSOURCE_PCLK1;
  PeriphClkInit.AdcClockSelection = RCC_ADCCLKSOURCE_SYSCLK;
  PeriphClkInit.Tim1ClockSelection = RCC_TIM1CLKSOURCE_PCLK1;
  if (HAL_RCCEx_PeriphCLKConfig(&PeriphClkInit) != HAL_OK)
  {
    Error_Handler();
  }
}

static void MX_ADC1_Init(void)
{

  ADC_ChannelConfTypeDef sConfig = {0};

  /** Configure the global features of the ADC (Clock, Resolution, Data Alignment and number of conversion)
  */
  hadc1.Instance = ADC1;
  hadc1.Init.ClockPrescaler = ADC_CLOCK_ASYNC_DIV1;
  hadc1.Init.Resolution = ADC_RESOLUTION_12B;
  hadc1.Init.DataAlign = ADC_DATAALIGN_RIGHT;
  hadc1.Init.ScanConvMode = ADC_SCAN_DISABLE;
  hadc1.Init.EOCSelection = ADC_EOC_SINGLE_CONV;
  hadc1.Init.LowPowerAutoWait = DISABLE;
  hadc1.Init.LowPowerAutoPowerOff = DISABLE;
  hadc1.Init.ContinuousConvMode = DISABLE;
  hadc1.Init.NbrOfConversion = 1;
  hadc1.Init.DiscontinuousConvMode = DISABLE;
  hadc1.Init.ExternalTrigConv = ADC_EXTERNALTRIG_T3_TRGO;
  hadc1.Init.ExternalTrigConvEdge = ADC_EXTERNALTRIGCONVEDGE_RISING;
  hadc1.Init.DMAContinuousRequests = DISABLE;
  hadc1.Init.Overrun = ADC_OVR_DATA_PRESERVED;
  hadc1.Init.SamplingTimeCommon1 = ADC_SAMPLETIME_1CYCLE_5;
  hadc1.Init.SamplingTimeCommon2 = ADC_SAMPLETIME_160CYCLES_5;
  hadc1.Init.OversamplingMode = DISABLE;
  hadc1.Init.TriggerFrequencyMode = ADC_TRIGGER_FREQ_HIGH;
  if (HAL_ADC_Init(&hadc1) != HAL_OK)
  {
    Error_Handler();
  }
  /** Configure Regular Channel
  */
  sConfig.Channel = ADC_CHANNEL_0;
  sConfig.Rank = ADC_REGULAR_RANK_1;
  sConfig.SamplingTime = ADC_SAMPLINGTIME_COMMON_1;
  if (HAL_ADC_ConfigChannel(&hadc1, &sConfig) != HAL_OK)
  {
    Error_Handler();
  }

}

static void MX_LPUART1_UART_Init(void)
{

  hlpuart1.Instance = LPUART1;
  hlpuart1.Init.BaudRate = 2000000;
  hlpuart1.Init.WordLength = UART_WORDLENGTH_8B;
  hlpuart1.Init.StopBits = UART_STOPBITS_1;
  hlpuart1.Init.Parity = UART_PARITY_NONE;
  hlpuart1.Init.Mode = UART_MODE_TX_RX;
  hlpuart1.Init.HwFlowCtl = UART_HWCONTROL_NONE;
  hlpuart1.Init.OneBitSampling = UART_ONE_BIT_SAMPLE_DISABLE;
  hlpuart1.Init.ClockPrescaler = UART_PRESCALER_DIV1;
  hlpuart1.AdvancedInit.AdvFeatureInit = UART_ADVFEATURE_NO_INIT;
  hlpuart1.FifoMode = UART_FIFOMODE_DISABLE;
  if (HAL_UART_Init(&hlpuart1) != HAL_OK)
  {
    Error_Handler();
  }
  if (HAL_UARTEx_SetTxFifoThreshold(&hlpuart1, UART_TXFIFO_THRESHOLD_1_8) != HAL_OK)
  {
    Error_Handler();
  }
  if (HAL_UARTEx_SetRxFifoThreshold(&hlpuart1, UART_RXFIFO_THRESHOLD_1_8) != HAL_OK)
  {
    Error_Handler();
  }
  if (HAL_UARTEx_DisableFifoMode(&hlpuart1) != HAL_OK)
  {
    Error_Handler();
  }

}

static void MX_TIM1_Init(void)
{

  TIM_ClockConfigTypeDef sClockSourceConfig = {0};
  TIM_MasterConfigTypeDef sMasterConfig = {0};
  TIM_OC_InitTypeDef sConfigOC = {0};
  TIM_BreakDeadTimeConfigTypeDef sBreakDeadTimeConfig = {0};

  htim1.Instance = TIM1;
  htim1.Init.Prescaler = TIM1_PRESCALER_VALUE;
  htim1.Init.CounterMode = TIM_COUNTERMODE_UP;
  htim1.Init.Period = TIM1_PERIOD_VALUE;
  htim1.Init.ClockDivision = TIM_CLOCKDIVISION_DIV1;
  htim1.Init.RepetitionCounter = 0;
  htim1.Init.AutoReloadPreload = TIM_AUTORELOAD_PRELOAD_ENABLE;
  if (HAL_TIM_Base_Init(&htim1) != HAL_OK)
  {
    Error_Handler();
  }
  sClockSourceConfig.ClockSource = TIM_CLOCKSOURCE_INTERNAL;
  if (HAL_TIM_ConfigClockSource(&htim1, &sClockSourceConfig) != HAL_OK)
  {
    Error_Handler();
  }
  if (HAL_TIM_PWM_Init(&htim1) != HAL_OK)
  {
    Error_Handler();
  }
  sMasterConfig.MasterOutputTrigger = TIM_TRGO_RESET;
  sMasterConfig.MasterOutputTrigger2 = TIM_TRGO2_RESET;
  sMasterConfig.MasterSlaveMode = TIM_MASTERSLAVEMODE_DISABLE;
  if (HAL_TIMEx_MasterConfigSynchronization(&htim1, &sMasterConfig) != HAL_OK)
  {
    Error_Handler();
  }
  sConfigOC.OCMode = TIM_OCMODE_PWM1;
  sConfigOC.Pulse = TIM1_PULSE1_VALUE;
  sConfigOC.OCPolarity = TIM_OCPOLARITY_HIGH;
  sConfigOC.OCNPolarity = TIM_OCNPOLARITY_HIGH;
  sConfigOC.OCFastMode = TIM_OCFAST_ENABLE;
  sConfigOC.OCIdleState = TIM_OCIDLESTATE_RESET;
  sConfigOC.OCNIdleState = TIM_OCNIDLESTATE_RESET;
  if (HAL_TIM_PWM_ConfigChannel(&htim1, &sConfigOC, TIM_CHANNEL_3) != HAL_OK)
  {
    Error_Handler();
  }
  sBreakDeadTimeConfig.OffStateRunMode = TIM_OSSR_DISABLE;
  sBreakDeadTimeConfig.OffStateIDLEMode = TIM_OSSI_DISABLE;
  sBreakDeadTimeConfig.LockLevel = TIM_LOCKLEVEL_OFF;
  sBreakDeadTimeConfig.DeadTime = 0;
  sBreakDeadTimeConfig.BreakState = TIM_BREAK_DISABLE;
  sBreakDeadTimeConfig.BreakPolarity = TIM_BREAKPOLARITY_HIGH;
  sBreakDeadTimeConfig.BreakFilter = 0;
  sBreakDeadTimeConfig.BreakAFMode = TIM_BREAK_AFMODE_INPUT;
  sBreakDeadTimeConfig.Break2State = TIM_BREAK2_DISABLE;
  sBreakDeadTimeConfig.Break2Polarity = TIM_BREAK2POLARITY_HIGH;
  sBreakDeadTimeConfig.Break2Filter = 0;
  sBreakDeadTimeConfig.Break2AFMode = TIM_BREAK_AFMODE_INPUT;
  sBreakDeadTimeConfig.AutomaticOutput = TIM_AUTOMATICOUTPUT_DISABLE;
  if (HAL_TIMEx_ConfigBreakDeadTime(&htim1, &sBreakDeadTimeConfig) != HAL_OK)
  {
    Error_Handler();
  }
  HAL_TIM_MspPostInit(&htim1);

}

static void MX_TIM2_Init(void)
{

  TIM_ClockConfigTypeDef sClockSourceConfig = {0};
  TIM_MasterConfigTypeDef sMasterConfig = {0};
  TIM_OC_InitTypeDef sConfigOC = {0};

  htim2.Instance = TIM2;
  htim2.Init.Prescaler = TIM2_PRESCALER_VALUE;
  htim2.Init.CounterMode = TIM_COUNTERMODE_UP;
  htim2.Init.Period = TIM2_PERIOD_VALUE;
  htim2.Init.ClockDivision = TIM_CLOCKDIVISION_DIV1;
  htim2.Init.AutoReloadPreload = TIM_AUTORELOAD_PRELOAD_DISABLE;
  if (HAL_TIM_Base_Init(&htim2) != HAL_OK)
  {
    Error_Handler();
  }
  sClockSourceConfig.ClockSource = TIM_CLOCKSOURCE_INTERNAL;
  if (HAL_TIM_ConfigClockSource(&htim2, &sClockSourceConfig) != HAL_OK)
  {
    Error_Handler();
  }
  if (HAL_TIM_PWM_Init(&htim2) != HAL_OK)
  {
    Error_Handler();
  }
  sMasterConfig.MasterOutputTrigger = TIM_TRGO_RESET;
  sMasterConfig.MasterSlaveMode = TIM_MASTERSLAVEMODE_DISABLE;
  if (HAL_TIMEx_MasterConfigSynchronization(&htim2, &sMasterConfig) != HAL_OK)
  {
    Error_Handler();
  }
  sConfigOC.OCMode = TIM_OCMODE_PWM1;
  sConfigOC.Pulse = TIM2_PULSE1_VALUE;
  sConfigOC.OCPolarity = TIM_OCPOLARITY_HIGH;
  sConfigOC.OCFastMode = TIM_OCFAST_ENABLE;
  if (HAL_TIM_PWM_ConfigChannel(&htim2, &sConfigOC, TIM_CHANNEL_2) != HAL_OK)
  {
    Error_Handler();
  }
  HAL_TIM_MspPostInit(&htim2);

}

static void MX_TIM3_Init(void)
{

  TIM_ClockConfigTypeDef sClockSourceConfig = {0};
  TIM_MasterConfigTypeDef sMasterConfig = {0};
  TIM_OC_InitTypeDef sConfigOC = {0};

  htim3.Instance = TIM3;
  htim3.Init.Prescaler = TIM3_PRESCALER_VALUE;
  htim3.Init.CounterMode = TIM_COUNTERMODE_UP;
  htim3.Init.Period = TIM3_PERIOD_VALUE;
  htim3.Init.ClockDivision = TIM_CLOCKDIVISION_DIV1;
  htim3.Init.AutoReloadPreload = TIM_AUTORELOAD_PRELOAD_DISABLE;
  if (HAL_TIM_Base_Init(&htim3) != HAL_OK)
  {
    Error_Handler();
  }
  sClockSourceConfig.ClockSource = TIM_CLOCKSOURCE_INTERNAL;
  if (HAL_TIM_ConfigClockSource(&htim3, &sClockSourceConfig) != HAL_OK)
  {
    Error_Handler();
  }
  if (HAL_TIM_PWM_Init(&htim3) != HAL_OK)
  {
    Error_Handler();
  }
  sMasterConfig.MasterOutputTrigger = TIM_TRGO_UPDATE;
  sMasterConfig.MasterSlaveMode = TIM_MASTERSLAVEMODE_DISABLE;
  if (HAL_TIMEx_MasterConfigSynchronization(&htim3, &sMasterConfig) != HAL_OK)
  {
    Error_Handler();
  }
  sConfigOC.OCMode = TIM_OCMODE_PWM1;
  sConfigOC.Pulse = TIM3_PULSE1_VALUE;
  sConfigOC.OCPolarity = TIM_OCPOLARITY_HIGH;
  sConfigOC.OCFastMode = TIM_OCFAST_ENABLE;
  if (HAL_TIM_PWM_ConfigChannel(&htim3, &sConfigOC, TIM_CHANNEL_2) != HAL_OK)
  {
    Error_Handler();
  }
  HAL_TIM_MspPostInit(&htim3);

}

static void MX_TIM16_Init(void)
{

  TIM_OC_InitTypeDef sConfigOC = {0};
  TIM_BreakDeadTimeConfigTypeDef sBreakDeadTimeConfig = {0};

  htim16.Instance = TIM16;
  htim16.Init.Prescaler = TIM16_PRESCALER_VALUE;
  htim16.Init.CounterMode = TIM_COUNTERMODE_UP;
  htim16.Init.Period = TIM16_PERIOD_VALUE;
  htim16.Init.ClockDivision = TIM_CLOCKDIVISION_DIV1;
  htim16.Init.RepetitionCounter = 0;
  htim16.Init.AutoReloadPreload = TIM_AUTORELOAD_PRELOAD_DISABLE;
  if (HAL_TIM_Base_Init(&htim16) != HAL_OK)
  {
    Error_Handler();
  }
  if (HAL_TIM_PWM_Init(&htim16) != HAL_OK)
  {
    Error_Handler();
  }
  sConfigOC.OCMode = TIM_OCMODE_PWM1;
  sConfigOC.Pulse = TIM16_PULSE1_VALUE;
  sConfigOC.OCPolarity = TIM_OCPOLARITY_HIGH;
  sConfigOC.OCNPolarity = TIM_OCNPOLARITY_HIGH;
  sConfigOC.OCFastMode = TIM_OCFAST_ENABLE;
  sConfigOC.OCIdleState = TIM_OCIDLESTATE_RESET;
  sConfigOC.OCNIdleState = TIM_OCNIDLESTATE_RESET;
  if (HAL_TIM_PWM_ConfigChannel(&htim16, &sConfigOC, TIM_CHANNEL_1) != HAL_OK)
  {
    Error_Handler();
  }
  sBreakDeadTimeConfig.OffStateRunMode = TIM_OSSR_DISABLE;
  sBreakDeadTimeConfig.OffStateIDLEMode = TIM_OSSI_DISABLE;
  sBreakDeadTimeConfig.LockLevel = TIM_LOCKLEVEL_OFF;
  sBreakDeadTimeConfig.DeadTime = 0;
  sBreakDeadTimeConfig.BreakState = TIM_BREAK_DISABLE;
  sBreakDeadTimeConfig.BreakPolarity = TIM_BREAKPOLARITY_HIGH;
  sBreakDeadTimeConfig.BreakFilter = 0;
  sBreakDeadTimeConfig.AutomaticOutput = TIM_AUTOMATICOUTPUT_DISABLE;
  if (HAL_TIMEx_ConfigBreakDeadTime(&htim16, &sBreakDeadTimeConfig) != HAL_OK)
  {
    Error_Handler();
  }
  HAL_TIM_MspPostInit(&htim16);

}

static void MX_DMA_Init(void)
{

  /* DMA controller clock enable */
  __HAL_RCC_DMA1_CLK_ENABLE();

  /* DMA interrupt init */
  /* DMA1_Channel1_IRQn interrupt configuration */
  HAL_NVIC_SetPriority(DMA1_Channel1_IRQn, 0, 0);
  HAL_NVIC_EnableIRQ(DMA1_Channel1_IRQn);
  /* DMA1_Channel2_3_IRQn interrupt configuration */
  HAL_NVIC_SetPriority(DMA1_Channel2_3_IRQn, 0, 0);
  HAL_NVIC_EnableIRQ(DMA1_Channel2_3_IRQn);

}

static void MX_GPIO_Init(void)
{
  GPIO_InitTypeDef GPIO_InitStruct = {0};

  /* GPIO Ports Clock Enable */
  __HAL_RCC_GPIOA_CLK_ENABLE();
  __HAL_RCC_GPIOB_CLK_ENABLE();
  __HAL_RCC_GPIOC_CLK_ENABLE();

  /*Configure GPIO pin Output Level */
  HAL_GPIO_WritePin(GPIOA, OLED_DC_Pin|OLED_RES_Pin|OLED_CLK_Pin, GPIO_PIN_RESET);

  /*Configure GPIO pin Output Level */
  HAL_GPIO_WritePin(OLED_DIN_GPIO_Port, OLED_DIN_Pin, GPIO_PIN_RESET);

  /*Configure GPIO pins : OLED_DC_Pin OLED_RES_Pin OLED_CLK_Pin */
  GPIO_InitStruct.Pin = OLED_DC_Pin|OLED_RES_Pin|OLED_CLK_Pin;
  GPIO_InitStruct.Mode = GPIO_MODE_OUTPUT_PP;
  GPIO_InitStruct.Pull = GPIO_NOPULL;
  GPIO_InitStruct.Speed = GPIO_SPEED_FREQ_VERY_HIGH;
  HAL_GPIO_Init(GPIOA, &GPIO_InitStruct);

  /*Configure GPIO pins : Key_OK_Pin Key_L_Pin */
  GPIO_InitStruct.Pin = Key_OK_Pin|Key_L_Pin;
  GPIO_InitStruct.Mode = GPIO_MODE_IT_FALLING;
  GPIO_InitStruct.Pull = GPIO_NOPULL;
  HAL_GPIO_Init(GPIOB, &GPIO_InitStruct);

  /*Configure GPIO pins : Key_R_Pin Key_U_Pin */
  GPIO_InitStruct.Pin = Key_R_Pin|Key_U_Pin;
  GPIO_InitStruct.Mode = GPIO_MODE_IT_FALLING;
  GPIO_InitStruct.Pull = GPIO_NOPULL;
  HAL_GPIO_Init(GPIOA, &GPIO_InitStruct);

  /*Configure GPIO pin : Key_D_Pin */
  GPIO_InitStruct.Pin = Key_D_Pin;
  GPIO_InitStruct.Mode = GPIO_MODE_IT_FALLING;
  GPIO_InitStruct.Pull = GPIO_NOPULL;
  HAL_GPIO_Init(Key_D_GPIO_Port, &GPIO_InitStruct);

  /*Configure GPIO pin : OLED_DIN_Pin */
  GPIO_InitStruct.Pin = OLED_DIN_Pin;
  GPIO_InitStruct.Mode = GPIO_MODE_OUTPUT_PP;
  GPIO_InitStruct.Pull = GPIO_NOPULL;
  GPIO_InitStruct.Speed = GPIO_SPEED_FREQ_VERY_HIGH;
  HAL_GPIO_Init(OLED_DIN_GPIO_Port, &GPIO_InitStruct);

  /* EXTI interrupt init*/
  HAL_NVIC_SetPriority(EXTI0_1_IRQn, 2, 0);
  HAL_NVIC_EnableIRQ(EXTI0_1_IRQn);

  HAL_NVIC_SetPriority(EXTI4_15_IRQn, 2, 0);
  HAL_NVIC_EnableIRQ(EXTI4_15_IRQn);

}

/* USER CODE BEGIN 4 */
void HAL_GPIO_EXTI_Falling_Callback(uint16_t GPIO_Pin)
{
  switch (GPIO_Pin)
  {
    case Key_OK_Pin:
      Key_Pressed |= Key_OK_Pin;
      break;
    case Key_L_Pin:
      Key_Pressed |= Key_L_Pin;
      break;
    case Key_R_Pin:
      Key_Pressed |= Key_R_Pin;
      break;
    case Key_D_Pin:
      Key_Pressed |= Key_D_Pin;
      break;
    case Key_U_Pin:
      Key_Pressed |= Key_U_Pin;
      break;
    default:
      break;
  }
}
/**
  * @brief  Period elapsed callback in non blocking mode
  * @param  htim : TIM handle
  * @retval None
  */

void HAL_TIM_PeriodElapsedCallback(TIM_HandleTypeDef *htim)
{
  //BSP_LED_Toggle(LED4);
  if (htim->Instance == TIM1)
  {
    uint16_t tmp_sin;
    if(tmp_phase > 31)
    {
      tmp_phase = 0;
    }
    //tmp_sin =(uint16_t)128*sinf(tmp_phase*PI/15.0)+128;
    __HAL_TIM_SET_COMPARE(&htim2, TIM_CHANNEL_2, tmp_sinTable[tmp_phase]);
    tmp_phase++;
  }
}

/**
  * @brief  Conversion complete callback in non blocking mode
  * @param  hadc: ADC handle
  * @note   This example shows a simple way to report end of conversion
  *         and get conversion result. You can add your own implementation.
  * @retval None
  */
void HAL_ADC_ConvCpltCallback(ADC_HandleTypeDef *hadc)
{
  /* Update status variable of DMA transfer */
  HAL_ADC_Stop_DMA(&hadc1);
  ubDmaTransferStatus = 1;
  /* Set LED depending on DMA transfer status */
  /* - Turn-on if DMA transfer is completed */
  /* - Turn-off if DMA transfer is not completed */
  //BSP_LED_On(LED4);
}
///**
//  * @brief  Conversion DMA half-transfer callback in non blocking mode
//  * @note   This example shows a simple way to report end of conversion
//  *         and get conversion result. You can add your own implementation.
//  * @retval None
//  */
//void HAL_ADC_ConvHalfCpltCallback(ADC_HandleTypeDef *hadc)
//{
//  /* Set LED depending on DMA transfer status */
//  /* - Turn-on if DMA transfer is completed */
//  /* - Turn-off if DMA transfer is not completed */
//  //BSP_LED_Off(LED4);
//}

/**
  * @brief  ADC error callback in non blocking mode
  *        (ADC conversion with interruption or transfer by DMA)
  * @param  hadc: ADC handle
  * @retval None
  */
void HAL_ADC_ErrorCallback(ADC_HandleTypeDef *hadc)
{
  /* In case of ADC error, call main error handler */
  Error_Handler();
}

/**
  * @brief  Retargets the C library printf function to the USART.
  * @param  None
  * @retval None
  */
PUTCHAR_PROTOTYPE
{
  /* Place your implementation of fputc here */
  /* e.g. write a character to the USART1 and Loop until the end of transmission */
  HAL_UART_Transmit(&hlpuart1, (uint8_t *)&ch, 1, 0xFFFF);

  return ch;
}

/* USER CODE END 4 */

void Error_Handler(void)
{
  __disable_irq();
  while (1)
  {
  }
}

/************************ (C) COPYRIGHT STMicroelectronics *****END OF FILE****/
